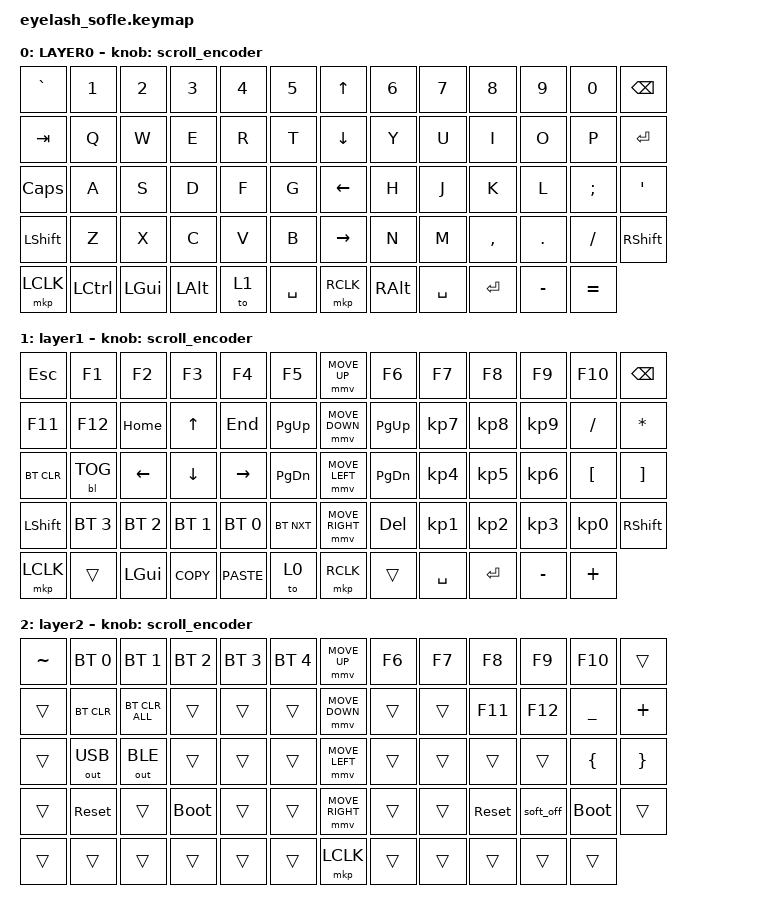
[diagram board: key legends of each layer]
#define ZMK_POINTING_DEFAULT_MOVE_VAL 1200  // 600
#define ZMK_POINTING_DEFAULT_SCRL_VAL 25   // 10

#include <input/processors.dtsi>
#include <zephyr/dt-bindings/input/input-event-codes.h>
#include <behaviors.dtsi>
#include <dt-bindings/zmk/backlight.h>
#include <dt-bindings/zmk/bt.h>
#include <dt-bindings/zmk/keys.h>
#include <dt-bindings/zmk/outputs.h>
#include <dt-bindings/zmk/pointing.h>

&mmv_input_listener { input-processors = <&zip_xy_scaler 2 1>; };

&msc_input_listener { input-processors = <&zip_scroll_scaler 2 1>; };

&msc {
    acceleration-exponent = <1>;      // 0
    time-to-max-speed-ms = <100>;       // 300
    delay-ms = <0>;                   // 0
};

&mmv {
    time-to-max-speed-ms = <500>;
    acceleration-exponent = <1>;
    trigger-period-ms = <16>;
};

&soft_off { hold-time-ms = <2000>; };

/ {
    scroll_encoder: scroll_encoder {
        compatible = "zmk,behavior-sensor-rotate";
        #sensor-binding-cells = <0>;
        bindings = <&msc SCRL_DOWN>, <&msc SCRL_UP>;

        tap-ms = <100>;
    };

    behaviors {
    };

    combos {
        compatible = "zmk,combos";

        softoff {
            bindings = <&soft_off>;
            key-positions = <14 28 40>;
        };
    };

    macros {
        SHIFT_MCLK: SHIFT_MCLK {
            compatible = "zmk,behavior-macro";
            #binding-cells = <0>;
            bindings =
                <&macro_press>,
                <&kp LEFT_SHIFT>,
                <&macro_press>,
                <&mkp MB3>,
                <&macro_pause_for_release>,
                <&macro_release>,
                <&kp LEFT_SHIFT &mkp MB3>;

            label = "SHIFT_MCLK";
        };
    };

    keymap {
        compatible = "zmk,keymap";

        layer0 {
            bindings = <
&kp GRAVE  &kp N1     &kp N2        &kp N3        &kp N4  &kp N5       &kp UP_ARROW     &kp N6         &kp N7     &kp N8     &kp N9     &kp N0     &kp BACKSPACE
&kp TAB    &kp Q      &kp W         &kp E         &kp R   &kp T        &kp DOWN_ARROW   &kp Y          &kp U      &kp I      &kp O      &kp P      &kp ENTER
&kp CAPS   &kp A      &kp S         &kp D         &kp F   &kp G        &kp LEFT_ARROW   &kp H          &kp J      &kp K      &kp L      &kp SEMI   &kp APOS
&kp LSHFT  &kp Z      &kp X         &kp C         &kp V   &kp B        &kp RIGHT_ARROW  &kp N          &kp M      &kp COMMA  &kp DOT    &kp FSLH   &kp RIGHT_SHIFT
&mkp LCLK  &kp LCTRL  &kp LEFT_GUI  &kp LEFT_ALT  &to 1   &kp SPACE    &mkp RCLK        &kp RIGHT_ALT  &kp SPACE  &kp ENTER  &kp MINUS  &kp EQUAL
            >;

            sensor-bindings = <&scroll_encoder>;
            display-name = "LAYER0";
        };

        layer_1 {
            bindings = <
&kp ESC         &kp F1        &kp F2        &kp F3        &kp F4        &kp F5           &mmv MOVE_UP     &kp F6     &kp F7           &kp F8           &kp F9           &kp F10           &kp BACKSPACE
&kp F11         &kp F12       &kp HOME      &kp UP_ARROW  &kp END       &kp PAGE_UP      &mmv MOVE_DOWN   &kp PG_UP  &kp KP_NUMBER_7  &kp KP_NUMBER_8  &kp KP_NUMBER_9  &kp SLASH         &kp ASTERISK
&bt BT_CLR      &bl BL_TOG    &kp LEFT      &kp DOWN      &kp RIGHT     &kp PAGE_DOWN    &mmv MOVE_LEFT   &kp PG_DN  &kp KP_NUMBER_4  &kp KP_NUMBER_5  &kp KP_NUMBER_6  &kp LEFT_BRACKET  &kp RIGHT_BRACKET
&kp LEFT_SHIFT  &bt BT_SEL 3  &bt BT_SEL 2  &bt BT_SEL 1  &bt BT_SEL 0  &bt BT_NXT       &mmv MOVE_RIGHT  &kp DEL    &kp KP_NUMBER_1  &kp KP_NUMBER_2  &kp KP_NUMBER_3  &kp KP_NUMBER_0   &kp RIGHT_SHIFT
&mkp LCLK       &trans        &kp LEFT_GUI  &kp K_COPY    &kp K_PASTE   &to 0            &mkp RCLK        &trans     &kp SPACE        &kp ENTER        &kp MINUS        &kp PLUS
            >;

            display-name = "layer1";
            sensor-bindings = <&scroll_encoder>;
        };

        layer_2 {
            bindings = <
&kp TILDE  &bt BT_SEL 0  &bt BT_SEL 1    &bt BT_SEL 2  &bt BT_SEL 3  &bt BT_SEL 4    &mmv MOVE_UP     &kp F6  &kp F7  &kp F8      &kp F9     &kp F10      &trans
&trans     &bt BT_CLR    &bt BT_CLR_ALL  &trans        &trans        &trans          &mmv MOVE_DOWN   &trans  &trans  &kp F11     &kp F12    &kp UNDER    &kp PLUS
&trans     &out OUT_USB  &out OUT_BLE    &trans        &trans        &trans          &mmv MOVE_LEFT   &trans  &trans  &trans      &trans     &kp LBRC     &kp RBRC
&trans     &sys_reset    &trans          &bootloader   &trans        &trans          &mmv MOVE_RIGHT  &trans  &trans  &sys_reset  &soft_off  &bootloader  &trans
&trans     &trans        &trans          &trans        &trans        &trans          &mkp LCLK        &trans  &trans  &trans      &trans     &trans
            >;

            display-name = "layer2";
            sensor-bindings = <&scroll_encoder>;
        };
    };
};
